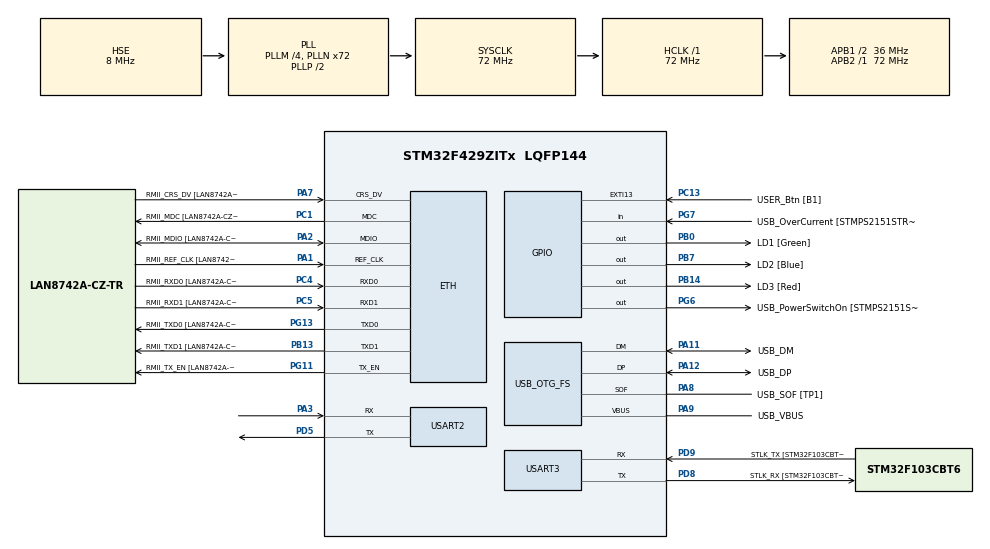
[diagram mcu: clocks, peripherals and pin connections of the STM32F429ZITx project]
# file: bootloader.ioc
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ETH.MediaInterface=HAL_ETH_RMII_MODE
ETH.PHY_Name=LAN8742A_PHY_ADDRESS
ETH.PHY_Value=0
ETH.PhyAddress=0
Mcu.Family=STM32F4
Mcu.Name=STM32F429ZITx
Mcu.Package=LQFP144
NVIC.PriorityGroup=NVIC_PRIORITYGROUP_4
PA1.GPIO_Label=RMII_REF_CLK [LAN8742A-CZ-TR_REFCLK0]
PA1.Mode=RMII
PA1.Signal=ETH_REF_CLK
PA10.GPIO_Label=USB_ID
PA10.Signal=USB_OTG_FS_ID
PA11.GPIO_Label=USB_DM
PA11.Mode=Device_Only
PA11.Signal=USB_OTG_FS_DM
PA12.GPIO_Label=USB_DP
PA12.Mode=Device_Only
PA12.Signal=USB_OTG_FS_DP
PA13.GPIO_Label=TMS
PA13.Mode=Serial_Wire
PA13.Signal=SYS_JTMS-SWDIO
PA14.GPIO_Label=TCK
PA14.Mode=Serial_Wire
PA14.Signal=SYS_JTCK-SWCLK
PA2.GPIO_Label=RMII_MDIO [LAN8742A-CZ-TR_MDIO]
PA2.Mode=RMII
PA2.Signal=ETH_MDIO
PA3.Mode=Asynchronous
PA3.Signal=USART2_RX
PA7.GPIO_Label=RMII_CRS_DV [LAN8742A-CZ-TR_CRS_DV]
PA7.Mode=RMII
PA7.Signal=ETH_CRS_DV
PA8.GPIO_Label=USB_SOF [TP1]
PA8.Mode=Activate_SOF_FS
PA8.Signal=USB_OTG_FS_SOF
PA9.GPIO_Label=USB_VBUS
PA9.Mode=Activate_VBUS
PA9.Signal=USB_OTG_FS_VBUS
PB0.GPIO_Label=LD1 [Green]
PB0.Signal=GPIO_Output
PB13.GPIO_Label=RMII_TXD1 [LAN8742A-CZ-TR_TXD1]
PB13.Mode=RMII
PB13.Signal=ETH_TXD1
PB14.GPIO_Label=LD3 [Red]
PB14.Signal=GPIO_Output
PB7.GPIO_Label=LD2 [Blue]
PB7.Signal=GPIO_Output
PC1.GPIO_Label=RMII_MDC [LAN8742A-CZ-TR_MDC]
PC1.Mode=RMII
PC1.Signal=ETH_MDC
PC13.GPIO_Label=USER_Btn [B1]
PC13.Signal=GPXTI13
PC14/OSC32_IN.Mode=LSE-External-Oscillator
PC14/OSC32_IN.Signal=RCC_OSC32_IN
PC15/OSC32_OUT.Mode=LSE-External-Oscillator
PC15/OSC32_OUT.Signal=RCC_OSC32_OUT
PC4.GPIO_Label=RMII_RXD0 [LAN8742A-CZ-TR_RXD0]
PC4.Mode=RMII
PC4.Signal=ETH_RXD0
PC5.GPIO_Label=RMII_RXD1 [LAN8742A-CZ-TR_RXD1]
PC5.Mode=RMII
PC5.Signal=ETH_RXD1
PD5.Mode=Asynchronous
PD5.Signal=USART2_TX
PD8.GPIO_Label=STLK_RX [STM32F103CBT6_PA3]
PD8.Mode=Asynchronous
PD8.Signal=USART3_TX
PD9.GPIO_Label=STLK_TX [STM32F103CBT6_PA2]
PD9.Mode=Asynchronous
PD9.Signal=USART3_RX
PG11.GPIO_Label=RMII_TX_EN [LAN8742A-CZ-TR_TXEN]
PG11.Mode=RMII
PG11.Signal=ETH_TX_EN
PG13.GPIO_Label=RMII_TXD0 [LAN8742A-CZ-TR_TXD0]
PG13.Mode=RMII
PG13.Signal=ETH_TXD0
PG6.GPIO_Label=USB_PowerSwitchOn [STMPS2151STR_EN]
PG6.Signal=GPIO_Output
PG7.GPIO_Label=USB_OverCurrent [STMPS2151STR_FAULT]
PG7.Signal=GPIO_Input
PH0/OSC_IN.GPIO_Label=MCO [STM32F103CBT6_PA8]
PH0/OSC_IN.Mode=HSE-External-Clock-Source
PH0/OSC_IN.Signal=RCC_OSC_IN
PH1/OSC_OUT.Mode=HSE-External-Clock-Source
PH1/OSC_OUT.Signal=RCC_OSC_OUT
ProjectManager.HeapSize=0x200
ProjectManager.StackSize=0x400
ProjectManager.TargetToolchain=STM32CubeIDE
RCC.48MHZClocksFreq_Value=48000000
RCC.AHBFreq_Value=72000000
RCC.APB1CLKDivider=RCC_HCLK_DIV2
RCC.APB1Freq_Value=36000000
RCC.APB1TimFreq_Value=72000000
RCC.APB2Freq_Value=72000000
RCC.APB2TimFreq_Value=72000000
RCC.CortexFreq_Value=72000000
RCC.HCLKFreq_Value=72000000
RCC.HSE_VALUE=8000000
RCC.HSI_VALUE=16000000
RCC.PLLM=4
RCC.PLLMUL=RCC_PLL_MUL9
RCC.PLLN=72
RCC.PLLQ=3
RCC.PRESCALERUSB=RCC_USBCLKSOURCE_PLL_DIV1_5
RCC.SYSCLKFreq_VALUE=72000000
RCC.SYSCLKSource=RCC_SYSCLKSOURCE_PLLCLK
RCC.SYSCLKSourceVirtual=RCC_SYSCLKSOURCE_PLLCLK
RCC.USBFreq_Value=48000000
RCC.VCOOutputFreq_Value=144000000
USART2.VirtualMode=VM_ASYNC
USART3.VirtualMode=VM_ASYNC
USB_OTG_FS.VirtualMode=Device_Only
VP_CRC_VS_CRC.Mode=CRC_Activate
board=NUCLEO-F429ZI

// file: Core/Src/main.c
/* USER CODE BEGIN Header */
/**
  ******************************************************************************
  * @file           : main.c
  * @brief          : Main program body
  ******************************************************************************
  * @attention
  *
  * Copyright (c) 2023 STMicroelectronics.
  * All rights reserved.
  *
  * This software is licensed under terms that can be found in the LICENSE file
  * in the root directory of this software component.
  * If no LICENSE file comes with this software, it is provided AS-IS.
  *
  ******************************************************************************
  */
/* USER CODE END Header */
#include <stdarg.h>
#include <string.h>
#include <stdio.h>

#include "main.h"
#include "crc.h"
#include "eth.h"
#include "usart.h"
#include "usb_otg.h"
#include "gpio.h"

/* USER CODE BEGIN PM */
#define D_UART &huart2
#define C_UART &huart3
#define BL_RX_LEN 200
#define BL_VERSION 0xAA
/* USER CODE END PM */

void SystemClock_Config(void);
/* USER CODE BEGIN PFP */
static void print_debug_msg(char *format,...);
void BL_uart_read_data(void);
void BL_jump_to_app(void);
void Jump_To(uint32_t address);
uint8_t get_rdp_level(void);
uint8_t verify_address(uint32_t address);
uint8_t execute_flash_erase(uint8_t sector_num, uint8_t n_sectors);
uint8_t execute_mem_write(uint8_t *pBuffer, uint32_t address, uint32_t len);
uint16_t get_mcu_chip_id(void);
char somedata[] = "Hello from Bootloader\r\n";
/* USER CODE END PFP */

/* USER CODE BEGIN 0 */
uint8_t bl_rx_buffer[BL_RX_LEN];

uint8_t supported_cmd[] = {
		BL_GET_VER,
		BL_GET_HELP,
		BL_GET_CID,
		BL_GET_RDP,
		BL_GO_TO,
		BL_FLASH_ERASE,
		BL_WRITE_MEM,
		BL_JUMP_TO_APP
};
/* USER CODE END 0 */

int main(void)
{

  /* MCU Configuration--------------------------------------------------------*/

  /* Reset of all peripherals, Initializes the Flash interface and the Systick. */
  HAL_Init();

  /* Configure the system clock */
  SystemClock_Config();

  /* Initialize all configured peripherals */
  MX_GPIO_Init();
  MX_ETH_Init();
  MX_USART3_UART_Init();
  MX_USB_OTG_FS_PCD_Init();
  MX_CRC_Init();
  MX_USART2_UART_Init();
  /* USER CODE BEGIN 2 */
  print_debug_msg("Hello from Bootloader \r\n");

  if ( HAL_GPIO_ReadPin(USER_Btn_GPIO_Port,USER_Btn_Pin) == GPIO_PIN_SET)
  {
	  print_debug_msg("User button is pressed -> Jumping to BL mode\r\n");
	  BL_uart_read_data();
  }
  else{

	  print_debug_msg("User button is not pressed -> Jumping to App\r\n");
	  BL_jump_to_app();
  }
  /* USER CODE END 2 */
}

void SystemClock_Config(void)
{
  RCC_OscInitTypeDef RCC_OscInitStruct = {0};
  RCC_ClkInitTypeDef RCC_ClkInitStruct = {0};

  /** Configure the main internal regulator output voltage
  */
  __HAL_RCC_PWR_CLK_ENABLE();
  __HAL_PWR_VOLTAGESCALING_CONFIG(PWR_REGULATOR_VOLTAGE_SCALE3);

  /** Initializes the RCC Oscillators according to the specified parameters
  * in the RCC_OscInitTypeDef structure.
  */
  RCC_OscInitStruct.OscillatorType = RCC_OSCILLATORTYPE_HSE;
  RCC_OscInitStruct.HSEState = RCC_HSE_BYPASS;
  RCC_OscInitStruct.PLL.PLLState = RCC_PLL_ON;
  RCC_OscInitStruct.PLL.PLLSource = RCC_PLLSOURCE_HSE;
  RCC_OscInitStruct.PLL.PLLM = 4;
  RCC_OscInitStruct.PLL.PLLN = 72;
  RCC_OscInitStruct.PLL.PLLP = RCC_PLLP_DIV2;
  RCC_OscInitStruct.PLL.PLLQ = 3;
  if (HAL_RCC_OscConfig(&RCC_OscInitStruct) != HAL_OK)
  {
    Error_Handler();
  }

  /** Initializes the CPU, AHB and APB buses clocks
  */
  RCC_ClkInitStruct.ClockType = RCC_CLOCKTYPE_HCLK|RCC_CLOCKTYPE_SYSCLK
                              |RCC_CLOCKTYPE_PCLK1|RCC_CLOCKTYPE_PCLK2;
  RCC_ClkInitStruct.SYSCLKSource = RCC_SYSCLKSOURCE_PLLCLK;
  RCC_ClkInitStruct.AHBCLKDivider = RCC_SYSCLK_DIV1;
  RCC_ClkInitStruct.APB1CLKDivider = RCC_HCLK_DIV2;
  RCC_ClkInitStruct.APB2CLKDivider = RCC_HCLK_DIV1;

  if (HAL_RCC_ClockConfig(&RCC_ClkInitStruct, FLASH_LATENCY_2) != HAL_OK)
  {
    Error_Handler();
  }
}

/* USER CODE BEGIN 4 */

/* Print formatted string to console over uart */
void print_debug_msg(char *format,...){

#ifdef BL_DEBUG_MSG_EN
	char str[80];

	/* Extract the argument list using VA apis */
	va_list args;
	va_start(args, format);
	vsprintf(str, format, args);
	HAL_UART_Transmit(D_UART, (uint8_t *)str, strlen(str), HAL_MAX_DELAY);
#endif
}

/* Package example
 *
 *	| Length to follow 	|
 *	---------------------
 *	| Command code     	|
 *	---------------------
 *	| CRC				|
 */
void BL_uart_read_data(void){
	uint8_t rcv_len = 0;
	HAL_GPIO_WritePin(LD3_GPIO_Port, LD3_Pin, GPIO_PIN_SET);
	while(1)
	{
		// Set the buffer in 0
		memset(bl_rx_buffer,0,200);

		// Read Length to follow
		HAL_UART_Receive(C_UART, bl_rx_buffer, 1, HAL_MAX_DELAY);
		rcv_len = bl_rx_buffer[0];

		// Read the command code + CRC
		HAL_UART_Receive(C_UART, &bl_rx_buffer[1], rcv_len, HAL_MAX_DELAY);

		switch(bl_rx_buffer[1])
		{
			case BL_GET_VER:
				BL_handle_getver_cmd(bl_rx_buffer);
				break;
			case BL_GET_HELP:
				BL_handle_gethelp_cmd(bl_rx_buffer);
				break;
			case BL_GET_CID:
				BL_handle_getcid_cmd(bl_rx_buffer);
				break;
			case BL_JUMP_TO_APP:
				BL_handle_jump_to_app(bl_rx_buffer);
				break;
			case BL_GET_RDP:
				BL_handle_getrdp_cmd(bl_rx_buffer);
				break;
			case BL_GO_TO:
				BL_handle_go_cmd(bl_rx_buffer);
				break;
			case BL_FLASH_ERASE:
				BL_handle_flash_erase_cmd(bl_rx_buffer);
				break;
			case BL_WRITE_MEM:
				BL_handle_write_mem_cmd(bl_rx_buffer);
				break;
		}
	}
}

void BL_jump_to_app(void)
{
	/* Function to hold the address of reset handler of the user app */
	typedef void (*app_reset_handler)(void);

	/* Point to vector table (The start of the app) */
	uint32_t *_vectable = (__IO uint32_t *) FLASH_APP_BASE_ADDRESS;

	/* Get the address of reset handler */
	app_reset_handler app_jump = (app_reset_handler) *(_vectable + 1);

	/* SCB-VTOR : Pointer to vector table (Start of app) */
	SCB->VTOR = _vectable;

	/* Set main stack pointer */
	__set_MSP(*_vectable);

	/* Jumping to user application*/
	app_jump();

}

void BL_handle_getver_cmd(uint8_t *pBuffer)
{
	uint8_t bl_version;

	// Get total length of cmd packet
	uint32_t cmd_packet_len = pBuffer[0] + 1;

	// Get Host CRC
	uint32_t host_crc = get_host_crc(pBuffer);

	// Check the CRC
	if (!BL_verify_crc(&pBuffer[0], cmd_packet_len-4, host_crc))
	{
		print_debug_msg("BL_DEBUG_MSG: CRC success\n");

		// Send ACK
		BL_send_ack(pBuffer[0], 1);

		bl_version = BL_get_version();
		print_debug_msg("BL_DEBUG_MSG: BL_VERSION : %d %#x \n", bl_version, bl_version);

		BL_uart_write_data(&bl_version,1);
	}
	else
	{
		print_debug_msg("BL_DEBUG_MSG: CRC Failed\n");
		BL_send_nack();
	}

}

uint32_t get_host_crc(uint8_t *pBuffer){

	// Get CRC32 sent by the host
	// |		1B     	  | 1B  |  1B  |  1B  |  1B  |  1B  |
	// | Length to follow | CMD | CRC1 | CRC2 | CRC3 | CRC4 |
	// |                  |     | Cast 4 uint8_t to 1 uint32_t and dereference

	uint32_t cmd_packet_len = pBuffer[0] + 1;
	return *((uint32_t *) (pBuffer + cmd_packet_len - 4));
}

void BL_handle_gethelp_cmd(uint8_t *pBuffer)
{
	// Get total length of cmd packet
	uint32_t cmd_packet_len = pBuffer[0] + 1;

	// Get Host CRC
	uint32_t host_crc = get_host_crc(pBuffer);

	// Check the CRC
	if (!BL_verify_crc(&pBuffer[0], cmd_packet_len-4, host_crc))
	{
		print_debug_msg("BL_DEBUG_MSG: CRC success\n");

		// Send ACK
		BL_send_ack(pBuffer[0], sizeof(supported_cmd));
		BL_uart_write_data(supported_cmd,sizeof(supported_cmd));
	}
	else
	{
		print_debug_msg("BL_DEBUG_MSG: CRC Failed\n");
		BL_send_nack();
	}

}

void BL_handle_getcid_cmd(uint8_t *pBuffer)
{
	// Get total length of cmd packet
	uint32_t cmd_packet_len = pBuffer[0] + 1;

	// Get Host CRC
	uint32_t host_crc = get_host_crc(pBuffer);

	// Check the CRC
	if (!BL_verify_crc(&pBuffer[0], cmd_packet_len-4, host_crc))
	{
		print_debug_msg("BL_DEBUG_MSG: CRC success\n");

		// Get CHIP ID
		uint16_t cid = get_mcu_chip_id();

		// Send ACK
		BL_send_ack(pBuffer[0], sizeof(supported_cmd));

		// Casting to (uint8_t *) because is a 16bits number
		// &cid -> memory address of cid (uint16_t *): 		0x0800000 1234
		// 													0x0800002 0001
		//
		// Depending on endianess
		// (uint8_t*) &cid -> Casting to uint8_t *			0x0800000 34
		//													0x0800001 12
		//													0x0800002 01
		//													0x0800003 00
		BL_uart_write_data((uint8_t *)&cid,2);
	}
	else
	{
		print_debug_msg("BL_DEBUG_MSG: CRC Failed\n");
		BL_send_nack();
	}

}

void BL_handle_jump_to_app(uint8_t *pBuffer)
{
	// Get total length of cmd packet
	uint32_t cmd_packet_len = pBuffer[0] + 1;

	// Get Host CRC
	uint32_t host_crc = get_host_crc(pBuffer);

	// Check the CRC
	if (!BL_verify_crc(&pBuffer[0], cmd_packet_len-4, host_crc))
	{
		print_debug_msg("BL_DEBUG_MSG: CRC success\n");
		uint8_t z = 0;
		// Send ACK
		BL_send_ack(pBuffer[0], 1);
		// Send 0 because we are jumping to app
		BL_uart_write_data(&z,1);

		// Jump and stop responding to BL
		BL_jump_to_app();
	}
	else
	{
		print_debug_msg("BL_DEBUG_MSG: CRC Failed\n");
		BL_send_nack();
	}

}

void BL_handle_getrdp_cmd(uint8_t *pBuffer)
{
	// Get total length of cmd packet
	uint32_t cmd_packet_len = pBuffer[0] + 1;

	// Get Host CRC
	uint32_t host_crc = get_host_crc(pBuffer);

	// Check the CRC
	if (!BL_verify_crc(&pBuffer[0], cmd_packet_len-4, host_crc))
	{
		print_debug_msg("BL_DEBUG_MSG: CRC success\n");

		// Get Flash read protection level
		uint8_t rdp = get_rdp_level();

		// Send ACK
		BL_send_ack(pBuffer[0], sizeof(supported_cmd));
		BL_uart_write_data(&rdp,1);
	}
	else
	{
		print_debug_msg("BL_DEBUG_MSG: CRC Failed\n");
		BL_send_nack();
	}

}

void BL_handle_go_cmd(uint8_t *pBuffer)
{
	uint32_t address;
	uint8_t valid = 0;
	uint8_t invalid = 1;
	// Get total length of cmd packet
	uint32_t cmd_packet_len = pBuffer[0] + 1;

	// Get Host CRC
	uint32_t host_crc = get_host_crc(pBuffer);

	// Check the CRC
	if (!BL_verify_crc(&pBuffer[0], cmd_packet_len-4, host_crc))
	{
		print_debug_msg("BL_DEBUG_MSG: CRC success\n");

		// Example of value in memory uint8_t	->  	&pBuffer[0] = 0x20000400	0x05
		//												&pBuffer[1] = 0x20000401	0x06
		//												&pBuffer[2] = 0x20000402	0x80
		//												&pBuffer[3] = 0x20000403	0x00
		//												&pBuffer[4] = 0x20000404	0x08
		//												&pBuffer[5] = 0x20000405	0x10
		// pBuffer[2] = 0x80
		// &pBuffer[2] = 0x20000402
		// *((uint32_t *) &pBuffer[2]) = 0x80000810

		address = *((uint32_t *) &pBuffer[2]);
		print_debug_msg("BL_DEBUG_MSG: Go address -> %#x\n",address);

		if (!verify_address(address)){
			// Send ACK
			print_debug_msg("BL_DEBUG_MSG: Address is valid \n");
			BL_send_ack(pBuffer[0], sizeof(supported_cmd));
			BL_uart_write_data(&valid,1);
			Jump_To(address);
		}
		else{
			print_debug_msg("BL_DEBUG_MSG: Address is valid \n");
			BL_uart_write_data(&invalid,1);
		}
	}
	else
	{
		print_debug_msg("BL_DEBUG_MSG: CRC Failed\n");
		BL_send_nack();
	}

}

void BL_handle_flash_erase_cmd(uint8_t *pBuffer)
{
	HAL_StatusTypeDef status;

	// Get total length of cmd packet
	uint32_t cmd_packet_len = pBuffer[0] + 1;

	// Get Host CRC
	uint32_t host_crc = get_host_crc(pBuffer);

	// Check the CRC
	if (!BL_verify_crc(&pBuffer[0], cmd_packet_len-4, host_crc))
	{
		print_debug_msg("BL_DEBUG_MSG: CRC success\n");

		// Send ACK
		BL_send_ack(pBuffer[0], sizeof(supported_cmd));

		// pBuffer[2] => Sector Number
		// pBuffer[3] => Number of Sectors
		status = execute_flash_erase(pBuffer[2], pBuffer[3]);
		print_debug_msg("BL_DEBUG_MSG: Flash Erase Status: %#x \n",status);

		// Send the status from erasing the flash
		BL_uart_write_data(&status,1);
	}
	else
	{
		print_debug_msg("BL_DEBUG_MSG: CRC Failed\n");
		BL_send_nack();
	}

}

// Length to follow 	=> pBuffer[0]
// ----------------
// Command code			=> pBuffer[1]
// ----------------
// Base Memory Address 	=> pBuffer[2] -> 4 bytes
// ----------------
// Payload Length		=> pBuffer[6]
// ----------------
// Payload				=> pBuffer[7]
// ----------------
// CRC
void BL_handle_write_mem_cmd(uint8_t *pBuffer)
{
	uint32_t address;
	// Get total length of cmd packet
	uint32_t cmd_packet_len = pBuffer[0] + 1;
	// Get Host CRC
	uint32_t host_crc = get_host_crc(pBuffer);

	uint8_t len = pBuffer[0];
	uint8_t payload_len = pBuffer[6];
	address = *((uint32_t *) &pBuffer[2]);

	// Check the CRC
	if (!BL_verify_crc(&pBuffer[0], cmd_packet_len-4, host_crc))
	{
		print_debug_msg("BL_DEBUG_MSG: CRC success\n");

		// Send ACK
		BL_send_ack(pBuffer[0], sizeof(supported_cmd));

		if (!verify_address(address))
		{
			status = execute_mem_write(&pBuffer[7], address, payload_len);
		}
		// Send the status from writing the memory
		BL_uart_write_data(&status,1);
	}
	else
	{
		print_debug_msg("BL_DEBUG_MSG: CRC Failed\n");
		status = ADDR_INVALID;
		BL_uart_write_data(&status,1);
	}

}

uint8_t execute_mem_write(uint8_t *pBuffer, uint32_t address, uint32_t len)
{
	uint8_t status = HAL_OK;

	HAL_FLASH_Unlock();

	for (uint32_t i = 0; i < len; i++)
	{
		status = HAL_FLASH_Program(FLASH_TYPEPROGRAM_BYTE, address + i, pBuffer[i]);
	}

	HAL_FLASH_Lock();

	return status;
}

uint8_t execute_flash_erase(uint8_t sector_num, uint8_t n_sectors)
{
	FLASH_EraseInitTypeDef erase_struct;
	uint32_t sectorError;
	HAL_StatusTypeDef status;

	if (n_sectors > 8) return INVALID_SECTOR;
	if ((sector_num == 0xFF) || (sector_num <= 7))
	{
		if (sector_num == (uint8_t) 0xFF)
		{
			erase_struct.TypeErase = FLASH_TYPEERASE_MASSERASE;
		}
		else
		{
			uint8_t remaining_sector = FLASH_MAX_SECTORS - sector_num;
			if (n_sectors > remaining_sector) n_sectors = remaining_sector;
			erase_struct.TypeErase = FLASH_TYPEERASE_SECTORS;
			erase_struct.Sector = sector_num;
			erase_struct.NbSectors = n_sectors;
		}
		erase_struct.Banks = FLASH_BANK_1;

		HAL_FLASH_Unlock();
		erase_struct.VoltageRange = FLASH_VOLTAGE_RANGE_3;
		status = (uint8_t) HAL_FLASHEx_Erase(&erase_struct, &sectorError);
		HAL_FLASH_Lock();

		return status;
	}

	return FLASH_INVALID_SECTOR;
}

void Jump_To(uint32_t address)
{
	// Make T bit = 1
	address += 1;
	void (*jump)(void) = (void *) address;
	jump();
}

uint8_t verify_address(uint32_t address)
{
	/* Valid addresses:
	 * - System Memory
	 * - SRAM1
	 * - SRAM2
	 * - BACKUP SRAM
	 * - EXTERNAL MEMORY
	 */
	if (address >= FLASH_BL_BASE_ADDRESS && address <= FLASH_END_ADDR)
	{
		return ADDR_VALID;
	}
	else if (address >= RAM_START_ADDR && address <= RAM_END_ADDR){
		return ADDR_VALID;
	}
	return ADDR_INVALID;
}

uint16_t get_mcu_chip_id(void)
{
	uint16_t cid;
	// This CID identifies the MCU part number and DIE revision.
	cid = (uint16_t)(DBGMCU->IDCODE) & 0x0FFF;
	return cid;
}

/**
 *  @brief 	This method will read the Flash Protection Level
 */
uint8_t get_rdp_level(void)
{
	uint8_t rdp_status = 0;
	// It uses the raw value of the address and not the APIs.
	volatile uint32_t *pOB_addr = (uint32_t*) 0x1FFFC000;
	rdp_status = (uint8_t)(*pOB_addr >> 8);
	return rdp_status;
}

/**
 * @brief This function verifies the checksum number
 *
 */
CRC_RET BL_verify_crc(uint8_t *pData, uint32_t len, uint32_t crc_host)
{
	uint32_t uwCRCValue = 0xff;
	for(uint32_t i=0; i < len; i++)
	{
		uint32_t i_data = pData[i];
		uwCRCValue = HAL_CRC_Accumulate(&hcrc, &i_data, 1);
	}

	 __HAL_CRC_DR_RESET(&hcrc);

	if (uwCRCValue == crc_host)
	{
		return VERIFY_CRC_SUCCESS;
	}

	return VERIFY_CRC_FAIL;
}

/**
  * @brief This function will send an ACK + 1Byte
  *
  * | ACK = 0xA5 | Follow length for the reply |
  *
  */
void BL_send_ack(uint8_t cmd, uint8_t follow_len)
{
	uint8_t ack_buf[2];
	ack_buf[0] = BL_ACK;
	ack_buf[1] = follow_len;
	HAL_UART_Transmit(C_UART, ack_buf, 2, HAL_MAX_DELAY);
}

/**
  * @brief This function will send an NACK
  *
  * | NACK = 0x7F |
  *
  */
void BL_send_nack(void)
{
	uint8_t nack = BL_NACK;
	HAL_UART_Transmit(C_UART, &nack, 1, HAL_MAX_DELAY);
}

uint8_t BL_get_version(void)
{
	return BL_VERSION;
}

/**
 * @brief This function is a wrapper of UART Transmit function
 */
void BL_uart_write_data(uint8_t *pBuffer, uint32_t len)
{
	HAL_UART_Transmit(C_UART, pBuffer, len, HAL_MAX_DELAY);
}
/* USER CODE END 4 */

void Error_Handler(void)
{
  __disable_irq();
  while (1)
  {
  }
}
